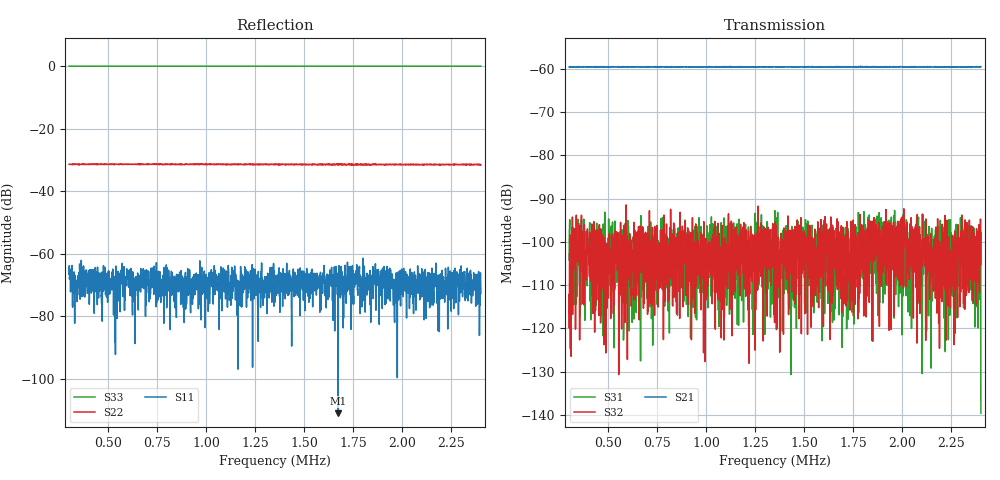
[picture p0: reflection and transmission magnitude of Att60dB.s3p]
#  HZ  S  DB  R  50.00
! Rohde & Schwarz Vector Network Analyzer
! Rohde-Schwarz,ZNB8-4Port,1311601044102961,2.82
! Created: UTC 10/29/2018, 9:45:03 AM
! freq[Hz]  db:S11  ang:S11  db:S12  ang:S12  db:S13  ang:S13
!  db:S21  ang:S21  db:S22  ang:S22  db:S23  ang:S23
!  db:S31  ang:S31  db:S32  ang:S32  db:S33  ang:S33
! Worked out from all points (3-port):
!   2001 points, 300 kHz to 2.4 MHz, reference 50 ohm
!   strongest paths, dB at 300 kHz, 825 kHz, 1.35 MHz, 1.875 MHz, 2.4 MHz:
!     S21: -59.5, -59.6, -59.5, -59.5, -59.4
!     S32: -112.2, -108.7, -104.0, -98.7, -105.2
!     S31: -104.2, -103.6, -102.5, -117.0, -139.7
!   lowest |S11| = -111.0 dB at 1.672 MHz (marker M1), VSWR 1.00, Z = 50 + j0.000159 ohm
!   |S11| at or under -10 dB: start of sweep to end of sweep
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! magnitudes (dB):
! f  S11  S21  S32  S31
! 300 kHz  -66.5  -59.5  -112.2  -104.2
! 535.2 kHz  -70.4  -59.5  -97.4  -109.6
! 604.5 kHz  -68.7  -59.5  -101.7  -100.4
! 629.7 kHz  -75.3  -59.5  -101.0  -103.5
! 726.3 kHz  -68.1  -59.4  -99.9  -123.9
! 1.35 MHz  -74.8  -59.5  -104.0  -102.5
! 1.672 MHz  -111.0  -59.5  -109.4  -102.4
! 1.963 MHz  -69.9  -59.5  -107.9  -105.3
! 2.308 MHz  -69.5  -59.5  -100.9  -110.6
! 2.4 MHz  -72.7  -59.4  -105.2  -139.7
